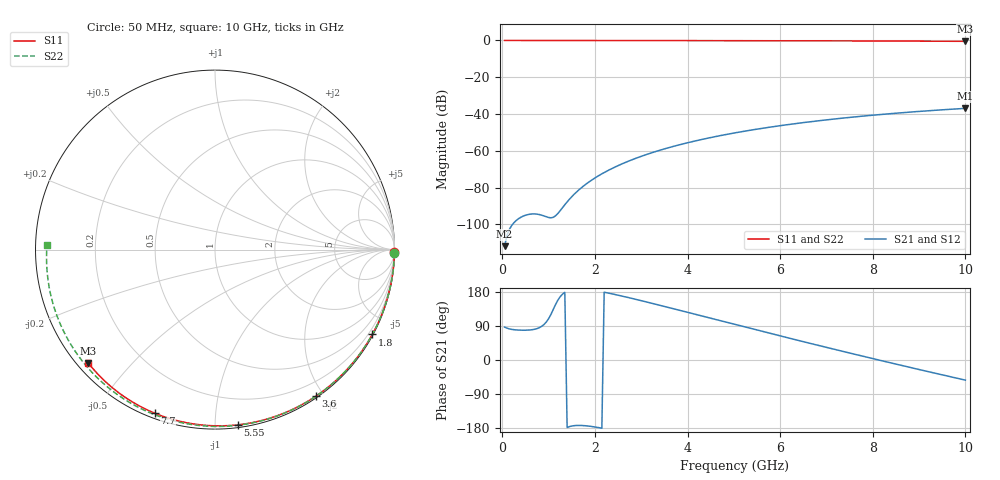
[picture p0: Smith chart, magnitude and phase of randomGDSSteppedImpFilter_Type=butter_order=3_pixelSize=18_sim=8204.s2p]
! freq	dB(S11)	phase(S11)	dB(S12)	phase(S12)
!  dB(S21)	phase(S21)	dB(S22)	phase(S22)
!S-par simulation data
#  GHz  S  DB  R 50
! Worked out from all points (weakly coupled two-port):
!   200 points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, 50 MHz to 10 GHz, reference 50 ohm
!   highest |S21| = -36.94 dB at 10 GHz (marker M1); lowest = -111.9 dB at 50 MHz (marker M2)
!   lowest |S11| = -0.5 dB at 10 GHz (marker M3), VSWR 37.01, Z = 1.55 - j19.1 ohm
!   |S11| at or under -10 dB: nowhere
!   |S22| runs from -0.6 to 0.0 dB; largest |S21 - S12| = 0
!   S11 on the Smith chart (normalised r, x): 50 MHz: open; 1.8 GHz: 0.03, -3.96; 3.6 GHz: 0.02, -1.91; 5.55 GHz: 0.02, -1.14; 7.7 GHz: 0.02, -0.70; 10 GHz: 0.03, -0.38
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0.05  -0.00 -0.8  -111.90 86.8  -111.90 86.8  -0.00 -1.1
0.45  -0.01 -7.2  -95.57 78.6  -95.57 78.6  -0.01 -9.7
0.85  -0.02 -13.5  -95.03 88.8  -95.03 88.8  -0.02 -18.1
1.25  -0.02 -19.8  -92.59 167.0  -92.59 167.0  -0.03 -26.5
1.7  -0.03 -26.8  -80.28 -172.7  -80.28 -172.7  -0.05 -35.8
1.75  -0.04 -27.6  -79.25 -173.0  -79.25 -173.0  -0.05 -36.8
1.8  -0.04 -28.3  -78.28 -173.5  -78.28 -173.5  -0.05 -37.9
2.1  -0.04 -32.9  -73.27 -178.8  -73.27 -178.8  -0.06 -44.0
2.3  -0.05 -36.0  -70.51 176.4  -70.51 176.4  -0.06 -48.0
2.5  -0.05 -39.0  -68.08 171.1  -68.08 171.1  -0.07 -52.0
2.9  -0.06 -45.0  -63.94 159.6  -63.94 159.6  -0.08 -59.8
3.4  -0.07 -52.4  -59.74 144.4  -59.74 144.4  -0.09 -69.4
3.6  -0.07 -55.4  -58.28 138.2  -58.28 138.2  -0.10 -73.2
4.3  -0.09 -65.4  -53.90 116.4  -53.90 116.4  -0.12 -86.1
5.05  -0.12 -75.8  -50.15 93.0  -50.15 93.0  -0.15 -99.4
5.55  -0.14 -82.6  -48.04 77.4  -48.04 77.4  -0.18 -108.0
6.1  -0.16 -89.9  -46.01 60.5  -46.01 60.5  -0.21 -117.2
6.7  -0.19 -97.6  -44.07 42.3  -44.07 42.3  -0.24 -127.2
7.7  -0.25 -110.2  -41.36 12.5  -41.36 12.5  -0.32 -143.4
8.35  -0.30 -118.2  -39.89 -6.5  -39.89 -6.5  -0.38 -154.0
9.2  -0.38 -128.6  -38.24 -30.8  -38.24 -30.8  -0.47 -168.0
10  -0.47 -138.2  -36.94 -53.1  -36.94 -53.1  -0.57 178.5
